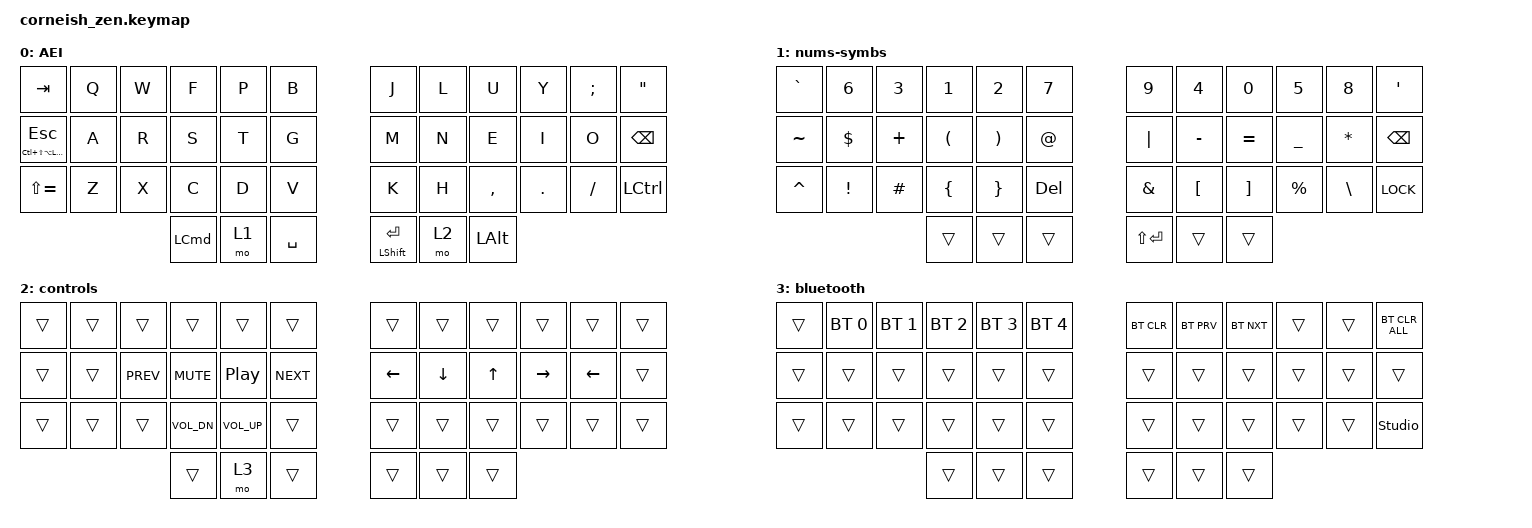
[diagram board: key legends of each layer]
#include <behaviors.dtsi>
#include <dt-bindings/zmk/bt.h>
#include <dt-bindings/zmk/keys.h>

/ {
    chosen {
        zmk,physical-layout = &foostan_corne_6col_layout;

        //zmk,matrix_transform = &default_transform;
        //zmk,matrix_transform = &five_column_transform;
    };
};

/ {
    behaviors {
        hyper_esc: hyper_esc {
            compatible = "zmk,behavior-hold-tap";
            label = "HYPER_ESC";
            bindings = <&kp>, <&kp>;

            #binding-cells = <2>;
            flavor = "balanced";
            tapping-term-ms = <200>;
        };
    };

    keymap {
        compatible = "zmk,keymap";

        base {
            label = "AEI";
            bindings = <
&kp TAB                             &kp Q  &kp W  &kp F             &kp P  &kp B        &kp J                  &kp L  &kp U         &kp Y    &kp SEMI  &kp DQT
&hyper_esc LC(LS(LA(LGUI))) ESCAPE  &kp A  &kp R  &kp S             &kp T  &kp G        &kp M                  &kp N  &kp E         &kp I    &kp O     &kp BSPC
&kp LS(EQUAL)                       &kp Z  &kp X  &kp C             &kp D  &kp V        &kp K                  &kp H  &kp COMMA     &kp DOT  &kp FSLH  &kp LEFT_CONTROL
                                                  &kp LEFT_COMMAND  &mo 1  &kp SPACE    &mt LEFT_SHIFT RETURN  &mo 2  &kp LEFT_ALT
            >;
        };

        nums-symbs {
            bindings = <
&kp GRAVE  &kp N6           &kp N3    &kp N1                &kp N2                 &kp N7         &kp N9         &kp N4     &kp N0     &kp N5          &kp N8         &kp SINGLE_QUOTE
&kp TILDE  &kp DOLLAR       &kp PLUS  &kp LEFT_PARENTHESIS  &kp RIGHT_PARENTHESIS  &kp AT_SIGN    &kp PIPE       &kp MINUS  &kp EQUAL  &kp UNDERSCORE  &kp STAR       &kp BSPC
&kp CARET  &kp EXCLAMATION  &kp HASH  &kp LEFT_BRACE        &kp RIGHT_BRACE        &kp DELETE     &kp AMPERSAND  &kp LBKT   &kp RBKT   &kp PERCENT     &kp BACKSLASH  &kp K_LOCK
                                      &trans                &trans                 &trans         &kp LS(ENTER)  &trans     &trans
            >;
        };

        controls {
            bindings = <
&trans  &trans  &trans      &trans        &trans            &trans        &trans    &trans    &trans  &trans     &trans    &trans
&trans  &trans  &kp C_PREV  &kp C_MUTE    &kp C_PLAY_PAUSE  &kp C_NEXT    &kp LEFT  &kp DOWN  &kp UP  &kp RIGHT  &kp LEFT  &trans
&trans  &trans  &trans      &kp C_VOL_DN  &kp C_VOL_UP      &trans        &trans    &trans    &trans  &trans     &trans    &trans
                            &trans        &mo 3             &trans        &trans    &trans    &trans
            >;
        };

        bluetooth {
            bindings = <
&trans  &bt BT_SEL 0  &bt BT_SEL 1  &bt BT_SEL 2  &bt BT_SEL 3  &bt BT_SEL 4    &bt BT_CLR  &bt BT_PRV  &bt BT_NXT  &trans  &trans  &bt BT_CLR_ALL
&trans  &trans        &trans        &trans        &trans        &trans          &trans      &trans      &trans      &trans  &trans  &trans
&trans  &trans        &trans        &trans        &trans        &trans          &trans      &trans      &trans      &trans  &trans  &studio_unlock
                                    &trans        &trans        &trans          &trans      &trans      &trans
            >;
        };
    };
};
